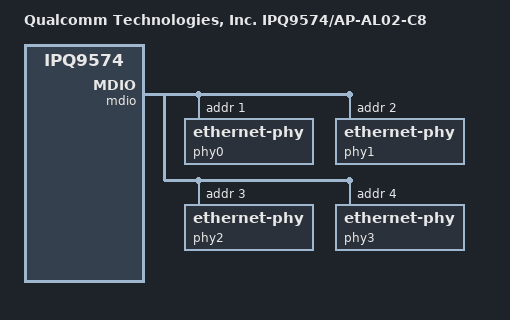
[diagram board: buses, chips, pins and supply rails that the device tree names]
// SPDX-License-Identifier: (GPL-2.0+ OR BSD-3-Clause)
/*
 * IPQ9574 AL02-C8 board device tree source
 *
 * Copyright (c) 2020-2021, The Linux Foundation. All rights reserved.
 * Copyright (c) 2022 Qualcomm Innovation Center, Inc. All rights reserved.
 */

/dts-v1/;

#include "ipq9574-al02-c4.dts"

/ {
	#address-cells = <0x2>;
	#size-cells = <0x2>;
	model = "Qualcomm Technologies, Inc. IPQ9574/AP-AL02-C8";
	compatible = "qcom,ipq9574-ap-al02-c8", "qcom,ipq9574-al08", "qcom,ipq9574";
	interrupt-parent = <&intc>;

	soc {
		dp1 {
			reg = <0x3a500000 0x4000>;
			qcom,mactype = <1>;
			qcom,phy-mdio-addr = <1>;
		};

		dp2 {
			reg = <0x3a504000 0x4000>;
			qcom,mactype = <1>;
			qcom,phy-mdio-addr = <2>;
		};

		dp3 {
			reg = <0x3a508000 0x4000>;
			qcom,mactype = <1>;
			qcom,phy-mdio-addr = <3>;
		};

		dp4 {
			reg = <0x3a50c000 0x4000>;
			qcom,mactype = <1>;
			qcom,phy-mdio-addr = <4>;
		};

		mdio:mdio@90000 {
			/*gpio60 for manhattan reset*/
			phy-reset-gpio = <&tlmm 60 0>;
			phyaddr_fixup = <0xC90F018>;
			uniphyaddr_fixup = <0xC90F014>;
			mdio_clk_fixup; /* MDIO clock sequence fix up flag */

			phy0: ethernet-phy@0 {
				reg = <1>;
				fixup;
			};
			phy1: ethernet-phy@1 {
				reg = <2>;
				fixup;
			};
			phy2: ethernet-phy@2 {
				reg = <3>;
				fixup;
			};
			phy3: ethernet-phy@3 {
				reg = <4>;
				fixup;
			};
		};

		ess-instance {
			num_devices = <0x1>;
			ess-switch@3a000000 {
				switch_mac_mode = <0x15>; /* mac mode for uniphy instance0*/
				bm_tick_mode = <1>; /* bm tick mode */
				tm_tick_mode = <1>; /* tm tick mode */
				qcom,port_phyinfo {
					port@0 {
						phy_address = <1>;
					};
					port@1 {
						phy_address = <2>;
					};
					port@2 {
						phy_address = <3>;
					};
					port@3 {
						phy_address = <4>;
					};
				};

				led_source@0 {
					source = <0>;
					mode = "normal";
					speed = "all";
					blink_en = "enable";
					active = "high";
				};
				led_source@3 {
					source = <3>;
					mode = "normal";
					speed = "all";
					blink_en = "enable";
					active = "high";
				};
				led_source@6 {
					source = <6>;
					mode = "normal";
					speed = "all";
					blink_en = "enable";
					active = "high";
				};
				led_source@9 {
					source = <9>;
					mode = "normal";
					speed = "all";
					blink_en = "enable";
					active = "high";
				};
			};
		};

		nss-macsec0 {
			compatible = "qcom,nss-macsec";
			phy_addr = <0x1>;
			mdiobus = <&mdio>;
		};
		nss-macsec1 {
			compatible = "qcom,nss-macsec";
			phy_addr = <0x2>;
			mdiobus = <&mdio>;
		};
		nss-macsec2 {
			compatible = "qcom,nss-macsec";
			phy_addr = <0x3>;
			mdiobus = <&mdio>;
		};
		nss-macsec3 {
			compatible = "qcom,nss-macsec";
			phy_addr = <0x4>;
			mdiobus = <&mdio>;
		};
	};
};
